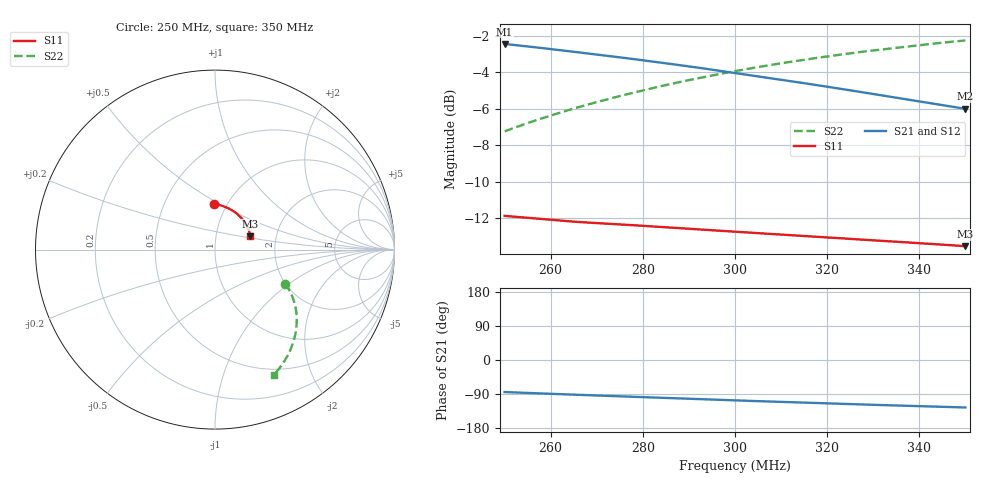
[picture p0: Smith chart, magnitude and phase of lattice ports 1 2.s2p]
#  HZ  S  DB  R  50.00
! Rohde & Schwarz Vector Network Analyzer
! Rohde-Schwarz,ZNL3-2Port,1323001203101687,1.37.1.9-20.11.2.22
! Created: UTC 11/14/2023, 3:54:37 PM
! freq[Hz]  db:S11  ang:S11  db:S21  ang:S21  db:S12  ang:S12  db:S22  ang:S22
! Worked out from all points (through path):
!   801 points, 250 MHz to 350 MHz, reference 50 ohm
!   highest |S21| = -2.44 dB at 250 MHz (marker M1); lowest = -6.0 dB at 350 MHz (marker M2)
!   group delay of S21, straight-line fit = 1.13 ns
!   lowest |S11| = -13.5 dB at 350 MHz (marker M3), VSWR 1.53, Z = 73.5 + j11.3 ohm
!   |S11| at or under -10 dB: start of sweep to end of sweep
!   |S22| runs from -7.2 to -2.2 dB; largest |S21 - S12| = 0.004
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2.5e8  -11.88 91.1  -2.44 -84.6  -2.44 -84.8  -7.24 -26.1
2.505e8  -11.89 90.7  -2.45 -84.8  -2.45 -85.1  -7.19 -26.2
2.53875e8  -11.96 87.8  -2.54 -86.4  -2.54 -86.7  -6.88 -27.2
2.59e8  -12.07 83.5  -2.69 -88.8  -2.69 -89.0  -6.45 -28.9
2.6275e8  -12.15 80.4  -2.80 -90.5  -2.80 -90.7  -6.15 -30.3
2.6675e8  -12.23 77.3  -2.92 -92.3  -2.92 -92.5  -5.86 -31.7
2.70875e8  -12.29 74.0  -3.05 -94.1  -3.05 -94.3  -5.57 -33.2
2.755e8  -12.36 70.4  -3.19 -96.1  -3.19 -96.4  -5.27 -35.0
2.79125e8  -12.41 67.5  -3.31 -97.7  -3.31 -98.0  -5.04 -36.4
2.83375e8  -12.48 64.3  -3.45 -99.6  -3.45 -99.9  -4.79 -38.0
2.87375e8  -12.54 61.3  -3.58 -101.3  -3.58 -101.6  -4.56 -39.6
2.91875e8  -12.62 57.9  -3.74 -103.2  -3.74 -103.5  -4.33 -41.4
2.96e8  -12.68 54.9  -3.88 -104.9  -3.89 -105.2  -4.12 -43.1
3e8  -12.75 52.1  -4.03 -106.6  -4.03 -106.9  -3.93 -44.7
3.0425e8  -12.82 49.1  -4.19 -108.3  -4.19 -108.6  -3.74 -46.5
3.08375e8  -12.88 46.2  -4.34 -109.9  -4.34 -110.2  -3.57 -48.2
3.1675e8  -13.01 40.6  -4.66 -113.2  -4.66 -113.5  -3.24 -51.6
3.24375e8  -13.13 35.7  -4.96 -116.1  -4.95 -116.5  -2.98 -54.7
3.33375e8  -13.27 30.1  -5.32 -119.5  -5.31 -119.8  -2.69 -58.3
3.4225e8  -13.42 24.8  -5.68 -122.6  -5.67 -123.0  -2.44 -61.9
3.4775e8  -13.51 21.6  -5.91 -124.5  -5.90 -125.0  -2.30 -64.1
3.5e8  -13.54 20.4  -6.00 -125.3  -5.99 -125.8  -2.25 -65.0
